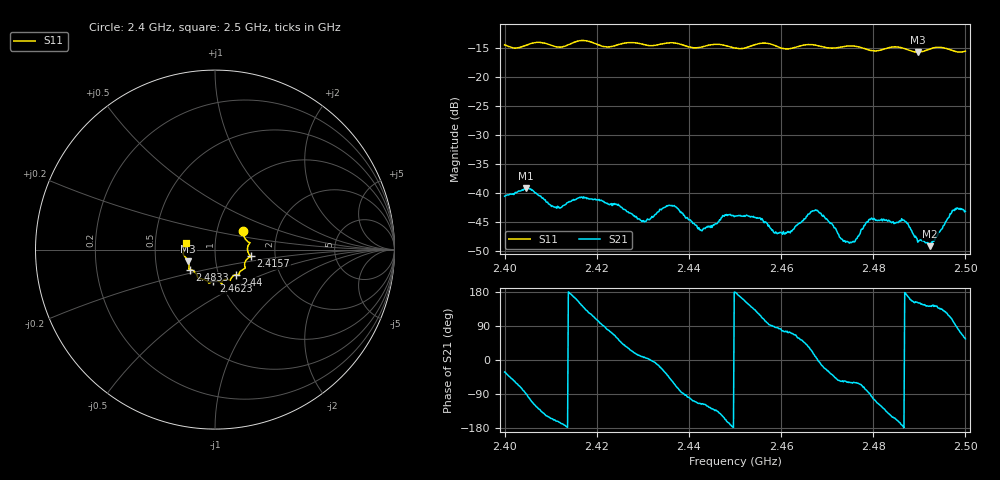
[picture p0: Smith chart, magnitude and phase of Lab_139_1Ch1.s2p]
# Hz S RI R 50
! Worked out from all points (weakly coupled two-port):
!   601 points, 2.4 GHz to 2.5 GHz, reference 50 ohm
!   highest |S21| = -39.11 dB at 2.4047 GHz (marker M1); lowest = -49.1 dB at 2.4923 GHz (marker M2)
!   lowest |S11| = -15.7 dB at 2.4897 GHz (marker M3), VSWR 1.39, Z = 36.7 - j4.94 ohm
!   |S11| at or under -10 dB: start of sweep to end of sweep
!   S12 and S22 are empty: the file has one direction only
!   S11 on the Smith chart (normalised r, x): 2.4 GHz: 1.33, +0.29; 2.4157 GHz: 1.49, -0.12; 2.44 GHz: 1.21, -0.35; 2.4623 GHz: 0.92, -0.34; 2.4833 GHz: 0.74, -0.17; 2.5 GHz: 0.72, +0.05
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2.4e9  0.1567 0.106  0.00801 -0.00494  0 0  0 0
2.404667e9  0.1825 0.0442  0.000114 -0.0111  0 0  0 0
2.410833e9  0.1826 0.0157  -0.00704 -0.00289  0 0  0 0
2.415667e9  0.1991 -0.0373  -0.00837 0.00323  0 0  0 0
2.416667e9  0.2021 -0.0405  -0.00756 0.00536  0 0  0 0
2.424333e9  0.1654 -0.0892  0.00413 0.0069  0 0  0 0
2.430167e9  0.1536 -0.1123  0.00577 0.000672  0 0  0 0
2.433333e9  0.1342 -0.1339  0.00672 -0.0016  0 0  0 0
2.436667e9  0.1336 -0.1444  0.0038 -0.00678  0 0  0 0
2.44e9  0.1157 -0.1399  -0.00091 -0.00581  0 0  0 0
2.442833e9  0.0927 -0.156  -0.00205 -0.00427  0 0  0 0
2.45e9  0.0639 -0.1656  -0.00634 0.000173  0 0  0 0
2.462333e9  -0.00886 -0.1762  0.00162 0.00442  0 0  0 0
2.466667e9  -0.0339 -0.1869  0.00636 0.00283  0 0  0 0
2.4745e9  -0.0886 -0.1622  0.00202 -0.00323  0 0  0 0
2.479167e9  -0.1057 -0.1336  0.000152 -0.00596  0 0  0 0
2.483333e9  -0.1395 -0.1112  -0.0046 -0.00363  0 0  0 0
2.486667e9  -0.1448 -0.1001  -0.00586 -0.000102  0 0  0 0
2.489667e9  -0.1497 -0.0655  -0.00333 0.00181  0 0  0 0
2.492333e9  -0.1708 -0.0353  -0.00275 0.00217  0 0  0 0
2.497333e9  -0.1681 -0.00234  -0.00149 0.00694  0 0  0 0
2.5e9  -0.1627 0.037  0.00393 0.00578  0 0  0 0
